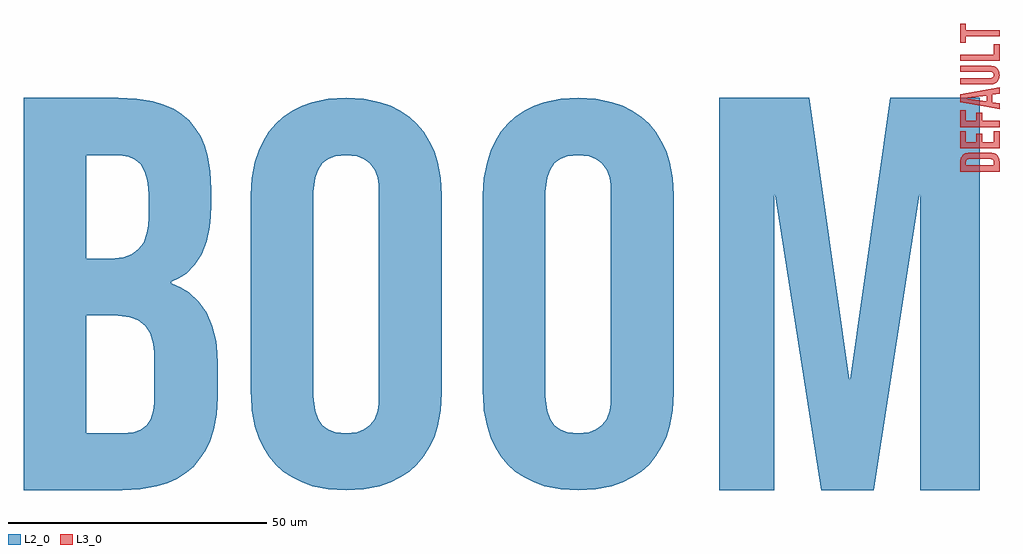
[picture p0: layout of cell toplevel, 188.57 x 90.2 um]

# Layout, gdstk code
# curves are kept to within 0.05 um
from math import pi, radians
import gdstk
lib = gdstk.Library(unit=1e-6, precision=1e-09)
def P(c, l, *ps):  # polygons
    for p in ps: c.add(gdstk.Polygon(p, *l))
L2_0 = (2, 0)
L3_0 = (3, 0)

text = lib.new_cell('text')
P(text, L2_0, [(23.6,0),(27.1,0.2),(30.2,0.8),(32.3,1.4),(34.2,2.3),(35.9,3.4),(37.4,4.6),(38.6,6.1),(39.7,7.8),(40.6,9.6),(41.3,11.7),(41.8,14.7),(42,18),(42,24.4),(41.7,28.8),(41,31.7),(39.9,34.3),(38.4,36.5),(36.4,38.3),(34.8,39.3),(33,40),(33,40.3),(34.5,41),(35.9,41.9),(37.6,43.6),(38.9,45.6),(39.9,48.1),(40.5,50.9),(40.7,52.9),(40.8,55.2),(40.8,58.2),(40.6,61.6),(40.1,64.6),(39.5,66.6),(38.7,68.4),(37.7,70),(36.5,71.5),(35.1,72.7),(33.5,73.7),(31.6,74.5),(29.5,75.2),(26.4,75.7),(22.8,75.9),(4.5,75.9),(4.5,44.8),(16.6,44.8),(16.6,64.8),(22.5,64.8),(23.7,64.7),(24.8,64.5),(26.1,63.9),(27.2,63),(27.9,61.6),(28.4,59.9),(28.6,58.5),(28.7,57),(28.7,52.8),(28.6,51.1),(28.3,49.7),(27.7,47.9),(26.7,46.6),(25.4,45.6),(23.9,45.1),(21.4,44.8),(4.5,44.8),(4.5,11),(16.6,11),(16.6,33.8),(22,33.8),(23.6,33.7),(25,33.5),(26.7,32.9),(28,31.8),(29,30.4),(29.6,28.3),(29.8,26.7),(29.8,16.8),(29.6,15.4),(29.1,13.8),(28.3,12.6),(27.2,11.7),(25.8,11.2),(23.6,11),(4.5,11),(4.5,0)],
  [(70.228,0.2),(73.328,0.8),(75.428,1.6),(77.328,2.5),(79.028,3.6),(80.528,5),(81.828,6.6),(82.928,8.3),(83.828,10.2),(84.528,12.4),(85.128,15.5),(85.328,18.9),(85.328,57),(85.128,60.3),(84.528,63.4),(83.828,65.6),(82.928,67.5),(81.828,69.3),(80.528,70.8),(79.028,72.2),(77.328,73.4),(75.428,74.3),(73.328,75),(70.228,75.7),(66.828,75.9),(63.428,75.7),(60.328,75),(58.328,74.3),(56.428,73.4),(54.728,72.2),(53.228,70.8),(51.928,69.3),(50.828,67.5),(49.928,65.6),(49.228,63.4),(48.628,60.3),(48.428,57),(48.428,18.9),(48.528,18.2),(60.528,18.2),(60.528,57.7),(60.628,59.1),(60.828,60.4),(61.428,62),(62.228,63.2),(63.328,64),(64.728,64.6),(66.828,64.8),(69.028,64.6),(70.328,64),(71.428,63.2),(72.328,62),(72.928,60.4),(73.128,59.1),(73.128,16.7),(72.928,15.4),(72.328,13.8),(71.428,12.6),(70.328,11.8),(69.028,11.2),(66.828,11),(64.728,11.2),(63.328,11.8),(62.228,12.6),(61.428,13.8),(60.828,15.4),(60.628,16.7),(60.528,18.2),(48.528,18.2),(48.628,15.5),(49.228,12.4),(49.928,10.2),(50.828,8.3),(51.928,6.6),(53.228,5),(54.728,3.6),(56.428,2.5),(58.328,1.6),(60.328,0.8),(63.428,0.2),(66.828,0)],
  [(115.055,0.2),(118.155,0.8),(120.255,1.6),(122.155,2.5),(123.855,3.6),(125.355,5),(126.655,6.6),(127.755,8.3),(128.655,10.2),(129.355,12.4),(129.955,15.5),(130.155,18.9),(130.155,57),(129.955,60.3),(129.355,63.4),(128.655,65.6),(127.755,67.5),(126.655,69.3),(125.355,70.8),(123.855,72.2),(122.155,73.4),(120.255,74.3),(118.155,75),(115.055,75.7),(111.655,75.9),(108.255,75.7),(105.155,75),(103.155,74.3),(101.255,73.4),(99.555,72.2),(98.055,70.8),(96.755,69.3),(95.655,67.5),(94.755,65.6),(94.055,63.4),(93.455,60.3),(93.255,57),(93.255,18.9),(93.355,18.2),(105.355,18.2),(105.355,57.7),(105.455,59.1),(105.655,60.4),(106.255,62),(107.055,63.2),(108.155,64),(109.555,64.6),(111.655,64.8),(113.855,64.6),(115.155,64),(116.255,63.2),(117.155,62),(117.755,60.4),(117.955,59.1),(117.955,16.7),(117.755,15.4),(117.155,13.8),(116.255,12.6),(115.155,11.8),(113.855,11.2),(111.655,11),(109.555,11.2),(108.155,11.8),(107.055,12.6),(106.255,13.8),(105.655,15.4),(105.455,16.7),(105.355,18.2),(93.355,18.2),(93.455,15.5),(94.055,12.4),(94.755,10.2),(95.655,8.3),(96.755,6.6),(98.055,5),(99.555,3.6),(101.255,2.5),(103.155,1.6),(105.155,0.8),(108.255,0.2),(111.655,0)],
  [(138.955,0),(149.569,0),(149.569,57.058),(149.784,57.058),(158.621,0),(168.75,0),(177.586,57.058),(177.802,57.058),(177.802,0),(189.278,0),(189.278,75.862),(171.983,75.862),(164.224,21.444),(164.009,21.444),(156.304,75.862),(138.955,75.862)])

text002 = lib.new_cell('text002')
P(text002, L3_0, [(2.65,0.02),(3.17,0.15),(3.52,0.35),(3.79,0.64),(4.04,1.22),(4.11,1.89),(4.11,5.7),(3.98,6.57),(3.79,6.94),(3.52,7.23),(2.96,7.51),(2.31,7.59),(0.45,7.59),(0.45,1.1),(1.66,1.1),(1.66,6.48),(2.28,6.48),(2.63,6.4),(2.82,6.19),(2.9,5.75),(2.9,1.83),(2.82,1.39),(2.49,1.12),(0.45,1.1),(0.45,0)],
  [(4.93,0),(8.244,0),(8.244,1.099),(6.148,1.099),(6.148,3.378),(7.812,3.378),(7.812,4.483),(6.148,4.483),(6.148,6.482),(8.244,6.482),(8.244,7.586),(4.93,7.586)],
  [(9.068,0),(10.286,0),(10.286,3.378),(11.853,3.378),(11.853,4.483),(10.286,4.483),(10.286,6.482),(12.279,6.482),(12.279,7.586),(9.068,7.586)],
  [(13.894,1.38),(15.274,1.4),(15.494,0),(16.704,0),(15.444,7.59),(13.804,7.59),(12.944,2.42),(14.034,2.42),(14.564,6.24),(15.124,2.42),(12.944,2.42),(12.544,0),(13.674,0)],
  [(19.111,0),(19.757,0.083),(20.316,0.366),(20.696,0.837),(20.847,1.248),(20.921,1.907),(20.921,7.586),(19.752,7.586),(19.745,1.673),(19.588,1.262),(19.133,1.099),(18.682,1.262),(18.525,1.673),(18.518,7.586),(17.301,7.586),(17.301,1.907),(17.375,1.248),(17.526,0.837),(17.906,0.366),(18.465,0.083)],
  [(21.827,0),(25.038,0),(25.038,1.099),(23.044,1.099),(23.044,7.586),(21.827,7.586)],
  [(26.573,0),(27.786,0),(27.786,6.482),(29.052,6.482),(29.052,7.586),(25.302,7.586),(25.302,6.482),(26.573,6.482)])

c_h2 = lib.new_cell('h2')
c_h2.add(gdstk.Reference(text002, (0,0)))

toplevel = lib.new_cell('toplevel')
toplevel.add(gdstk.Reference(text, (0,0)))
toplevel.add(gdstk.Reference(c_h2, (193.073,61.149), rotation=pi/2))

lib.write_gds('toplevel.gds')
